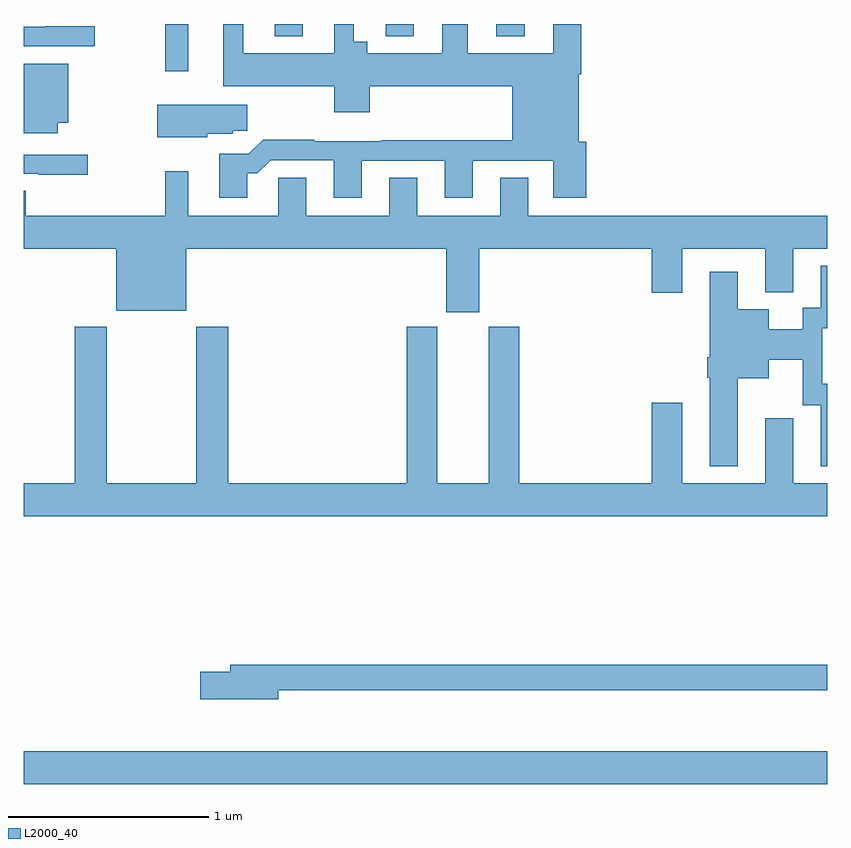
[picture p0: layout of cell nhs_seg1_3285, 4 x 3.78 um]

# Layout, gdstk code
import gdstk
lib = gdstk.Library(unit=1e-6, precision=1e-09)
def R(c, l, rs):  # rectangles x0, y0, x1, y1
    for r in rs: c.add(gdstk.rectangle(r[:2], r[2:], *l))
def A(c, l, x, y, w, h, nx, ny, dx, dy):  # array of equal rectangles
    R(c, l, [(x+i*dx, y+j*dy, x+i*dx+w, y+j*dy+h) for i in range(nx) for j in range(ny)])
def P(c, l, *ps):  # polygons
    for p in ps: c.add(gdstk.Polygon(p, *l))
L2000_40 = (2000, 40)

nhs_seg1_3285 = lib.new_cell('nhs_seg1_3285')
A(nhs_seg1_3285, L2000_40, 290.249, 538.139, 0.14, 0.06, 3, 1, 0.552, 0)
R(nhs_seg1_3285, L2000_40, [(289,534.416,293,534.58), (289.705,537.963,289.819,538.199)])
P(nhs_seg1_3285, L2000_40, [(290.113,537.455),(290.162,537.455),(290.229,537.522),(290.543,537.522),(290.543,537.333),(290.683,537.333),(290.683,537.519),(291.095,537.519),(291.095,537.333),(291.235,537.333),(291.235,537.519),(291.635,537.519),(291.635,537.333),(291.8,537.333),(291.8,537.612),(291.763,537.612),(291.763,537.95),(291.776,537.95),(291.776,538.199),(291.635,538.199),(291.635,538.054),(291.211,538.054),(291.211,538.199),(291.083,538.199),(291.083,538.054),(290.71,538.054),(290.71,538.111),(290.644,538.111),(290.644,538.199),(290.546,538.199),(290.546,538.054),(290.092,538.054),(290.092,538.199),(289.994,538.199),(289.994,537.89),(290.545,537.89),(290.545,537.759),(290.723,537.759),(290.723,537.89),(291.431,537.89),(291.431,537.62),(290.779,537.62),(290.779,537.616),(290.447,537.616),(290.447,537.623),(290.192,537.623),(290.121,537.552),(289.973,537.552),(289.973,537.333),(290.113,537.333)],
  [(289.354,538.189),(289.109,538.189),(289.109,538.185),(289,538.185),(289,538.089),(289.354,538.089)],
  [(289.169,537.707),(289.222,537.707),(289.222,538),(289,538),(289,537.656),(289.169,537.656)],
  [(289.914,537.653),(290.04,537.653),(290.04,537.667),(290.113,537.667),(290.113,537.796),(289.664,537.796),(289.664,537.635),(289.914,537.635)],
  [(289.318,537.549),(289,537.549),(289,537.453),(289.073,537.453),(289.073,537.449),(289.318,537.449)],
  [(292.127,536.862),(292.279,536.862),(292.279,537.08),(292.691,537.08),(292.691,536.864),(292.831,536.864),(292.831,537.08),(293,537.08),(293,537.244),(291.511,537.244),(291.511,537.434),(291.371,537.434),(291.371,537.244),(290.959,537.244),(290.959,537.434),(290.819,537.434),(290.819,537.244),(290.407,537.244),(290.407,537.434),(290.268,537.434),(290.268,537.244),(289.819,537.244),(289.819,537.466),(289.705,537.466),(289.705,537.244),(289.01,537.244),(289.01,537.368),(289,537.368),(289,537.08),(289.46,537.08),(289.46,536.771),(289.81,536.771),(289.81,537.08),(291.104,537.08),(291.104,536.763),(291.268,536.763),(291.268,537.08),(292.127,537.08)],
  [(292.555,536.435),(292.708,536.435),(292.708,536.528),(292.878,536.528),(292.878,536.301),(292.967,536.301),(292.967,535.998),(293,535.998),(293,536.409),(292.974,536.409),(292.974,536.685),(293,536.685),(293,536.995),(292.967,536.995),(292.967,536.786),(292.877,536.786),(292.877,536.68),(292.708,536.68),(292.708,536.779),(292.555,536.779),(292.555,536.965),(292.415,536.965),(292.415,536.539),(292.403,536.539),(292.403,536.439),(292.415,536.439),(292.415,535.997),(292.555,535.997)],
  [(291.314,536.691),(291.314,535.912),(291.058,535.912),(291.058,536.691),(290.906,536.691),(290.906,535.912),(290.018,535.912),(290.018,536.692),(289.858,536.692),(289.858,535.912),(289.413,535.912),(289.413,536.692),(289.253,536.692),(289.253,535.912),(289,535.912),(289,535.748),(293,535.748),(293,535.912),(292.831,535.912),(292.831,536.236),(292.691,536.236),(292.691,535.912),(292.279,535.912),(292.279,536.314),(292.127,536.314),(292.127,535.912),(291.467,535.912),(291.467,536.691)],
  [(290.266,534.882),(293,534.882),(293,535.01),(290.027,535.01),(290.027,534.974),(289.878,534.974),(289.878,534.839),(290.266,534.839)])

lib.write_gds('nhs_seg1_3285.gds')
